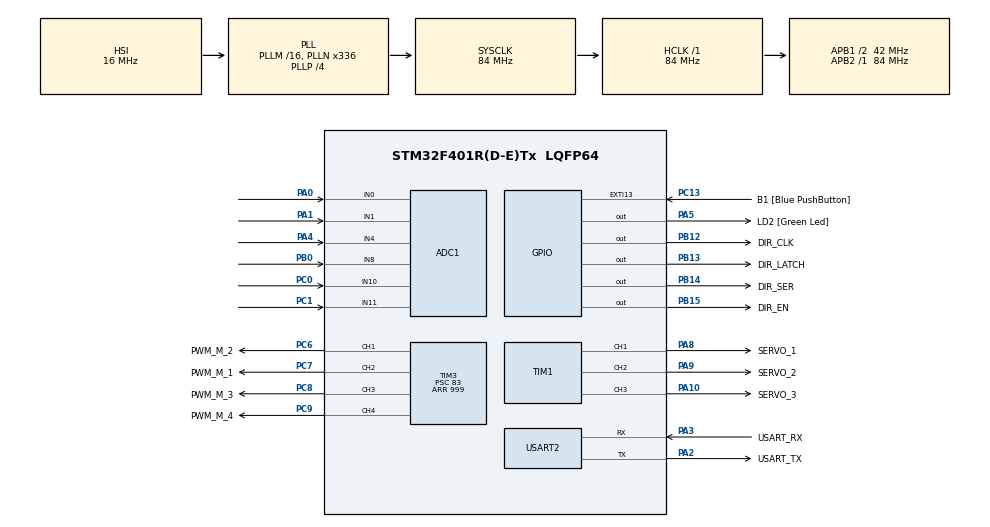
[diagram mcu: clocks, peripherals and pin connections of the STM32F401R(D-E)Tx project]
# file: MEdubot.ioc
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ADC1.Channel-0\#ChannelRegularConversion=ADC_CHANNEL_0
ADC1.Channel-1\#ChannelRegularConversion=ADC_CHANNEL_1
ADC1.Channel-2\#ChannelRegularConversion=ADC_CHANNEL_4
ADC1.Channel-3\#ChannelRegularConversion=ADC_CHANNEL_8
ADC1.Channel-4\#ChannelRegularConversion=ADC_CHANNEL_10
ADC1.Channel-5\#ChannelRegularConversion=ADC_CHANNEL_11
ADC1.ContinuousConvMode=DISABLE
ADC1.NbrOfConversion=6
ADC1.NbrOfConversionFlag=1
ADC1.Rank-0\#ChannelRegularConversion=1
ADC1.Rank-1\#ChannelRegularConversion=2
ADC1.Rank-2\#ChannelRegularConversion=3
ADC1.Rank-3\#ChannelRegularConversion=4
ADC1.Rank-4\#ChannelRegularConversion=5
ADC1.Rank-5\#ChannelRegularConversion=6
ADC1.SamplingTime-0\#ChannelRegularConversion=ADC_SAMPLETIME_3CYCLES
ADC1.SamplingTime-1\#ChannelRegularConversion=ADC_SAMPLETIME_3CYCLES
ADC1.SamplingTime-2\#ChannelRegularConversion=ADC_SAMPLETIME_3CYCLES
ADC1.SamplingTime-3\#ChannelRegularConversion=ADC_SAMPLETIME_3CYCLES
ADC1.SamplingTime-4\#ChannelRegularConversion=ADC_SAMPLETIME_3CYCLES
ADC1.SamplingTime-5\#ChannelRegularConversion=ADC_SAMPLETIME_3CYCLES
ADC1.master=1
Dma.ADC1.0.Direction=DMA_PERIPH_TO_MEMORY
Dma.ADC1.0.FIFOMode=DMA_FIFOMODE_DISABLE
Dma.ADC1.0.Instance=DMA2_Stream0
Dma.ADC1.0.MemDataAlignment=DMA_MDATAALIGN_HALFWORD
Dma.ADC1.0.MemInc=DMA_MINC_ENABLE
Dma.ADC1.0.Mode=DMA_NORMAL
Dma.ADC1.0.PeriphDataAlignment=DMA_PDATAALIGN_HALFWORD
Dma.ADC1.0.PeriphInc=DMA_PINC_DISABLE
Dma.ADC1.0.Priority=DMA_PRIORITY_LOW
Dma.Request0=ADC1
Mcu.Family=STM32F4
Mcu.Name=STM32F401R(D-E)Tx
Mcu.Package=LQFP64
NVIC.DMA2_Stream0_IRQn=true\:0\:0\:false\:false\:true\:false\:true\:true
NVIC.PriorityGroup=NVIC_PRIORITYGROUP_0
PA0-WKUP.Signal=ADCx_IN0
PA1.Signal=ADCx_IN1
PA10.GPIO_Label=SERVO_3
PA10.Signal=S_TIM1_CH3
PA13.GPIO_Label=TMS
PA13.Mode=Serial_Wire
PA13.Signal=SYS_JTMS-SWDIO
PA14.GPIO_Label=TCK
PA14.Mode=Serial_Wire
PA14.Signal=SYS_JTCK-SWCLK
PA2.GPIO_Label=USART_TX
PA2.GPIO_Mode=GPIO_MODE_AF_PP
PA2.GPIO_PuPd=GPIO_NOPULL
PA2.GPIO_Speed=GPIO_SPEED_FREQ_LOW
PA2.Mode=Asynchronous
PA2.Signal=USART2_TX
PA3.GPIO_Label=USART_RX
PA3.GPIO_Mode=GPIO_MODE_AF_PP
PA3.GPIO_PuPd=GPIO_NOPULL
PA3.GPIO_Speed=GPIO_SPEED_FREQ_LOW
PA3.Mode=Asynchronous
PA3.Signal=USART2_RX
PA4.Signal=ADCx_IN4
PA5.GPIO_Label=LD2 [Green Led]
PA5.GPIO_Mode=GPIO_MODE_OUTPUT_PP
PA5.GPIO_PuPd=GPIO_NOPULL
PA5.GPIO_Speed=GPIO_SPEED_FREQ_LOW
PA5.Signal=GPIO_Output
PA8.GPIO_Label=SERVO_1
PA8.Signal=S_TIM1_CH1
PA9.GPIO_Label=SERVO_2
PA9.Signal=S_TIM1_CH2
PB0.Signal=ADCx_IN8
PB12.GPIO_Label=DIR_CLK
PB12.Signal=GPIO_Output
PB13.GPIO_Label=DIR_LATCH
PB13.Signal=GPIO_Output
PB14.GPIO_Label=DIR_SER
PB14.Signal=GPIO_Output
PB15.GPIO_Label=DIR_EN
PB15.Signal=GPIO_Output
PC0.Signal=ADCx_IN10
PC1.Signal=ADCx_IN11
PC13-ANTI_TAMP.GPIO_Label=B1 [Blue PushButton]
PC13-ANTI_TAMP.GPIO_ModeDefaultEXTI=GPIO_MODE_IT_FALLING
PC13-ANTI_TAMP.GPIO_PuPd=GPIO_NOPULL
PC13-ANTI_TAMP.Signal=GPXTI13
PC14-OSC32_IN.Mode=LSE-External-Oscillator
PC14-OSC32_IN.Signal=RCC_OSC32_IN
PC15-OSC32_OUT.Mode=LSE-External-Oscillator
PC15-OSC32_OUT.Signal=RCC_OSC32_OUT
PC6.GPIO_Label=PWM_M_2
PC6.Signal=S_TIM3_CH1
PC7.GPIO_Label=PWM_M_1
PC7.Signal=S_TIM3_CH2
PC8.GPIO_Label=PWM_M_3
PC8.Signal=S_TIM3_CH3
PC9.GPIO_Label=PWM_M_4
PC9.Signal=S_TIM3_CH4
PH0\ -\ OSC_IN.Mode=HSE-External-Clock-Source
PH0\ -\ OSC_IN.Signal=RCC_OSC_IN
PH1\ -\ OSC_OUT.Mode=HSE-External-Clock-Source
PH1\ -\ OSC_OUT.Signal=RCC_OSC_OUT
ProjectManager.HeapSize=0x200
ProjectManager.StackSize=0x400
ProjectManager.TargetToolchain=STM32CubeIDE
RCC.48MHZClocksFreq_Value=48000000
RCC.AHBFreq_Value=84000000
RCC.APB1CLKDivider=RCC_HCLK_DIV2
RCC.APB1Freq_Value=42000000
RCC.APB1TimFreq_Value=84000000
RCC.APB2Freq_Value=84000000
RCC.APB2TimFreq_Value=84000000
RCC.CortexFreq_Value=84000000
RCC.HCLKFreq_Value=84000000
RCC.HSE_VALUE=8000000
RCC.HSI_VALUE=16000000
RCC.PLLN=336
RCC.PLLP=RCC_PLLP_DIV4
RCC.PLLQ=7
RCC.SYSCLKFreq_VALUE=84000000
RCC.SYSCLKSource=RCC_SYSCLKSOURCE_PLLCLK
RCC.VCOOutputFreq_Value=336000000
SH.ADCx_IN0.0=ADC1_IN0,IN0
SH.ADCx_IN1.0=ADC1_IN1,IN1
SH.ADCx_IN10.0=ADC1_IN10,IN10
SH.ADCx_IN11.0=ADC1_IN11,IN11
SH.ADCx_IN4.0=ADC1_IN4,IN4
SH.ADCx_IN8.0=ADC1_IN8,IN8
SH.S_TIM1_CH1.0=TIM1_CH1,PWM Generation1 CH1
SH.S_TIM1_CH2.0=TIM1_CH2,PWM Generation2 CH2
SH.S_TIM1_CH3.0=TIM1_CH3,PWM Generation3 CH3
SH.S_TIM3_CH1.0=TIM3_CH1,PWM Generation1 CH1
SH.S_TIM3_CH2.0=TIM3_CH2,PWM Generation2 CH2
SH.S_TIM3_CH3.0=TIM3_CH3,PWM Generation3 CH3
SH.S_TIM3_CH4.0=TIM3_CH4,PWM Generation4 CH4
TIM1.Channel-PWM\ Generation1\ CH1=TIM_CHANNEL_1
TIM1.Channel-PWM\ Generation2\ CH2=TIM_CHANNEL_2
TIM1.Channel-PWM\ Generation3\ CH3=TIM_CHANNEL_3
TIM3.Channel-PWM\ Generation1\ CH1=TIM_CHANNEL_1
TIM3.Channel-PWM\ Generation2\ CH2=TIM_CHANNEL_2
TIM3.Channel-PWM\ Generation3\ CH3=TIM_CHANNEL_3
TIM3.Channel-PWM\ Generation4\ CH4=TIM_CHANNEL_4
TIM3.Period=999
TIM3.Prescaler=83
USART2.VirtualMode=VM_ASYNC
VP_TIM1_VS_ClockSourceINT.Mode=Internal
VP_TIM2_VS_ClockSourceINT.Mode=Internal
VP_TIM3_VS_ClockSourceINT.Mode=Internal
VP_TIM4_VS_ClockSourceINT.Mode=Internal
board=NUCLEO-F401RE

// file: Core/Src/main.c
/* USER CODE BEGIN Header */
/**
 ******************************************************************************
 * @file           : main.c
 * @brief          : Main program body
 ******************************************************************************
 * @attention
 *
 * Copyright (c) 2024 STMicroelectronics.
 * All rights reserved.
 *
 * This software is licensed under terms that can be found in the LICENSE file
 * in the root directory of this software component.
 * If no LICENSE file comes with this software, it is provided AS-IS.
 *
 ******************************************************************************
 */
/* USER CODE END Header */
#include "main.h"

/* USER CODE BEGIN PD */
#define MAX_SPEED 1000.0
#define MOTOR_DIR_FORWARD 0
#define MOTOR_DIR_STOP 1
#define MOTOR_DIR_BACK 2
/* USER CODE END PD */

ADC_HandleTypeDef hadc1;
DMA_HandleTypeDef hdma_adc1;

TIM_HandleTypeDef htim1;
TIM_HandleTypeDef htim2;
TIM_HandleTypeDef htim3;
TIM_HandleTypeDef htim4;

UART_HandleTypeDef huart2;

/* USER CODE BEGIN PV */
uint16_t adc[6]={0};
/* USER CODE END PV */

void SystemClock_Config(void);
static void MX_GPIO_Init(void);
static void MX_DMA_Init(void);
static void MX_USART2_UART_Init(void);
static void MX_TIM2_Init(void);
static void MX_TIM3_Init(void);
static void MX_TIM4_Init(void);
static void MX_TIM1_Init(void);
static void MX_ADC1_Init(void);

/* USER CODE BEGIN 0 */
void setDirection(uint8_t left, uint8_t right) {
	uint8_t dirMessage = 0b00000000;
	uint8_t i = 0;
	if (left ==MOTOR_DIR_FORWARD) {
		dirMessage |= 0b00010000; //hátra 0b00100000
	}
	if (left == MOTOR_DIR_BACK) {
		dirMessage |= 0b00100000;
	}
	if (left == MOTOR_DIR_STOP) {
		dirMessage |= 0b00000000;
	}
	if (right ==MOTOR_DIR_FORWARD) {
		dirMessage |= 0b10000000; //hátra: 0b00000010
	}
	if (right == MOTOR_DIR_BACK) {
		dirMessage |= 0b00000010;
	}
	if (right == MOTOR_DIR_STOP) {
		dirMessage |= 0b00000000;
	}

	HAL_GPIO_WritePin(DIR_EN_GPIO_Port, DIR_EN_Pin, 0);
	HAL_GPIO_WritePin(DIR_LATCH_GPIO_Port, DIR_LATCH_Pin, 0);
	for (i = 0; i < 8; ++i) {

		if ((dirMessage) & (1 << (i))) {
			HAL_GPIO_WritePin(DIR_SER_GPIO_Port, DIR_SER_Pin, 1);
		} else {
			HAL_GPIO_WritePin(DIR_SER_GPIO_Port, DIR_SER_Pin, 0);
		}
		HAL_Delay(1);
		HAL_GPIO_WritePin(DIR_CLK_GPIO_Port, DIR_CLK_Pin, 1);
		HAL_Delay(1);
		HAL_GPIO_WritePin(DIR_CLK_GPIO_Port, DIR_CLK_Pin, 0);

	}
	HAL_Delay(1);
	HAL_GPIO_WritePin(DIR_LATCH_GPIO_Port, DIR_LATCH_Pin, 1);
	HAL_Delay(1);
	HAL_GPIO_WritePin(DIR_LATCH_GPIO_Port, DIR_LATCH_Pin, 0);

}

uint8_t getDirectionFromSpeed(int32_t speed) {
	uint8_t retValue = MOTOR_DIR_STOP;
	if (speed > 0) {
		retValue = MOTOR_DIR_FORWARD;
	} else if (speed < 0) {
		retValue = MOTOR_DIR_BACK;
	}
	return retValue;
}

uint16_t getPWMFromSpeed(int32_t speed) {
	if (speed < 0) {
		speed = speed * -1;
	}
	if (speed > MAX_SPEED) {
		speed = MAX_SPEED;
	}
	return (speed / MAX_SPEED) * htim3.Instance->ARR;
}
void setSpeed(int16_t left, int16_t right) {
	uint8_t dirLeft = getDirectionFromSpeed(left);
	uint8_t dirRight = getDirectionFromSpeed(right);
	setDirection(dirLeft, dirRight);
	htim3.Instance->CCR2 = getPWMFromSpeed(left);
	htim3.Instance->CCR4 = getPWMFromSpeed(right);
}

/* USER CODE END 0 */

int main(void)
{

  /* MCU Configuration--------------------------------------------------------*/

  /* Reset of all peripherals, Initializes the Flash interface and the Systick. */
  HAL_Init();

  /* Configure the system clock */
  SystemClock_Config();

  /* Initialize all configured peripherals */
  MX_GPIO_Init();
  MX_DMA_Init();
  MX_USART2_UART_Init();
  MX_TIM2_Init();
  MX_TIM3_Init();
  MX_TIM4_Init();
  MX_TIM1_Init();
  MX_ADC1_Init();
  /* USER CODE BEGIN 2 */
	HAL_TIM_PWM_Start(&htim3, TIM_CHANNEL_2);
	HAL_TIM_PWM_Start(&htim3, TIM_CHANNEL_4);
	setSpeed(0, 0);
  /* USER CODE END 2 */

  /* Infinite loop */
  /* USER CODE BEGIN WHILE */
	while (1) {
		HAL_Delay(300);
		setSpeed(250, 750);
		HAL_ADC_Start_DMA(&hadc1, adc, 6);
		HAL_GPIO_TogglePin(LD2_GPIO_Port, LD2_Pin);

    /* USER CODE END WHILE */

	}
}

void SystemClock_Config(void)
{
  RCC_OscInitTypeDef RCC_OscInitStruct = {0};
  RCC_ClkInitTypeDef RCC_ClkInitStruct = {0};

  /** Configure the main internal regulator output voltage
  */
  __HAL_RCC_PWR_CLK_ENABLE();
  __HAL_PWR_VOLTAGESCALING_CONFIG(PWR_REGULATOR_VOLTAGE_SCALE2);

  /** Initializes the RCC Oscillators according to the specified parameters
  * in the RCC_OscInitTypeDef structure.
  */
  RCC_OscInitStruct.OscillatorType = RCC_OSCILLATORTYPE_HSI;
  RCC_OscInitStruct.HSIState = RCC_HSI_ON;
  RCC_OscInitStruct.HSICalibrationValue = RCC_HSICALIBRATION_DEFAULT;
  RCC_OscInitStruct.PLL.PLLState = RCC_PLL_ON;
  RCC_OscInitStruct.PLL.PLLSource = RCC_PLLSOURCE_HSI;
  RCC_OscInitStruct.PLL.PLLM = 16;
  RCC_OscInitStruct.PLL.PLLN = 336;
  RCC_OscInitStruct.PLL.PLLP = RCC_PLLP_DIV4;
  RCC_OscInitStruct.PLL.PLLQ = 7;
  if (HAL_RCC_OscConfig(&RCC_OscInitStruct) != HAL_OK)
  {
    Error_Handler();
  }

  /** Initializes the CPU, AHB and APB buses clocks
  */
  RCC_ClkInitStruct.ClockType = RCC_CLOCKTYPE_HCLK|RCC_CLOCKTYPE_SYSCLK
                              |RCC_CLOCKTYPE_PCLK1|RCC_CLOCKTYPE_PCLK2;
  RCC_ClkInitStruct.SYSCLKSource = RCC_SYSCLKSOURCE_PLLCLK;
  RCC_ClkInitStruct.AHBCLKDivider = RCC_SYSCLK_DIV1;
  RCC_ClkInitStruct.APB1CLKDivider = RCC_HCLK_DIV2;
  RCC_ClkInitStruct.APB2CLKDivider = RCC_HCLK_DIV1;

  if (HAL_RCC_ClockConfig(&RCC_ClkInitStruct, FLASH_LATENCY_2) != HAL_OK)
  {
    Error_Handler();
  }
}

static void MX_ADC1_Init(void)
{

  ADC_ChannelConfTypeDef sConfig = {0};

  /** Configure the global features of the ADC (Clock, Resolution, Data Alignment and number of conversion)
  */
  hadc1.Instance = ADC1;
  hadc1.Init.ClockPrescaler = ADC_CLOCK_SYNC_PCLK_DIV4;
  hadc1.Init.Resolution = ADC_RESOLUTION_12B;
  hadc1.Init.ScanConvMode = ENABLE;
  hadc1.Init.ContinuousConvMode = DISABLE;
  hadc1.Init.DiscontinuousConvMode = DISABLE;
  hadc1.Init.ExternalTrigConvEdge = ADC_EXTERNALTRIGCONVEDGE_NONE;
  hadc1.Init.ExternalTrigConv = ADC_SOFTWARE_START;
  hadc1.Init.DataAlign = ADC_DATAALIGN_RIGHT;
  hadc1.Init.NbrOfConversion = 6;
  hadc1.Init.DMAContinuousRequests = DISABLE;
  hadc1.Init.EOCSelection = ADC_EOC_SINGLE_CONV;
  if (HAL_ADC_Init(&hadc1) != HAL_OK)
  {
    Error_Handler();
  }

  /** Configure for the selected ADC regular channel its corresponding rank in the sequencer and its sample time.
  */
  sConfig.Channel = ADC_CHANNEL_0;
  sConfig.Rank = 1;
  sConfig.SamplingTime = ADC_SAMPLETIME_3CYCLES;
  if (HAL_ADC_ConfigChannel(&hadc1, &sConfig) != HAL_OK)
  {
    Error_Handler();
  }

  /** Configure for the selected ADC regular channel its corresponding rank in the sequencer and its sample time.
  */
  sConfig.Channel = ADC_CHANNEL_1;
  sConfig.Rank = 2;
  if (HAL_ADC_ConfigChannel(&hadc1, &sConfig) != HAL_OK)
  {
    Error_Handler();
  }

  /** Configure for the selected ADC regular channel its corresponding rank in the sequencer and its sample time.
  */
  sConfig.Channel = ADC_CHANNEL_4;
  sConfig.Rank = 3;
  if (HAL_ADC_ConfigChannel(&hadc1, &sConfig) != HAL_OK)
  {
    Error_Handler();
  }

  /** Configure for the selected ADC regular channel its corresponding rank in the sequencer and its sample time.
  */
  sConfig.Channel = ADC_CHANNEL_8;
  sConfig.Rank = 4;
  if (HAL_ADC_ConfigChannel(&hadc1, &sConfig) != HAL_OK)
  {
    Error_Handler();
  }

  /** Configure for the selected ADC regular channel its corresponding rank in the sequencer and its sample time.
  */
  sConfig.Channel = ADC_CHANNEL_10;
  sConfig.Rank = 5;
  if (HAL_ADC_ConfigChannel(&hadc1, &sConfig) != HAL_OK)
  {
    Error_Handler();
  }

  /** Configure for the selected ADC regular channel its corresponding rank in the sequencer and its sample time.
  */
  sConfig.Channel = ADC_CHANNEL_11;
  sConfig.Rank = 6;
  if (HAL_ADC_ConfigChannel(&hadc1, &sConfig) != HAL_OK)
  {
    Error_Handler();
  }

}

static void MX_TIM1_Init(void)
{

  TIM_ClockConfigTypeDef sClockSourceConfig = {0};
  TIM_MasterConfigTypeDef sMasterConfig = {0};
  TIM_OC_InitTypeDef sConfigOC = {0};
  TIM_BreakDeadTimeConfigTypeDef sBreakDeadTimeConfig = {0};

  htim1.Instance = TIM1;
  htim1.Init.Prescaler = 0;
  htim1.Init.CounterMode = TIM_COUNTERMODE_UP;
  htim1.Init.Period = 65535;
  htim1.Init.ClockDivision = TIM_CLOCKDIVISION_DIV1;
  htim1.Init.RepetitionCounter = 0;
  htim1.Init.AutoReloadPreload = TIM_AUTORELOAD_PRELOAD_DISABLE;
  if (HAL_TIM_Base_Init(&htim1) != HAL_OK)
  {
    Error_Handler();
  }
  sClockSourceConfig.ClockSource = TIM_CLOCKSOURCE_INTERNAL;
  if (HAL_TIM_ConfigClockSource(&htim1, &sClockSourceConfig) != HAL_OK)
  {
    Error_Handler();
  }
  if (HAL_TIM_PWM_Init(&htim1) != HAL_OK)
  {
    Error_Handler();
  }
  sMasterConfig.MasterOutputTrigger = TIM_TRGO_RESET;
  sMasterConfig.MasterSlaveMode = TIM_MASTERSLAVEMODE_DISABLE;
  if (HAL_TIMEx_MasterConfigSynchronization(&htim1, &sMasterConfig) != HAL_OK)
  {
    Error_Handler();
  }
  sConfigOC.OCMode = TIM_OCMODE_PWM1;
  sConfigOC.Pulse = 0;
  sConfigOC.OCPolarity = TIM_OCPOLARITY_HIGH;
  sConfigOC.OCNPolarity = TIM_OCNPOLARITY_HIGH;
  sConfigOC.OCFastMode = TIM_OCFAST_DISABLE;
  sConfigOC.OCIdleState = TIM_OCIDLESTATE_RESET;
  sConfigOC.OCNIdleState = TIM_OCNIDLESTATE_RESET;
  if (HAL_TIM_PWM_ConfigChannel(&htim1, &sConfigOC, TIM_CHANNEL_1) != HAL_OK)
  {
    Error_Handler();
  }
  if (HAL_TIM_PWM_ConfigChannel(&htim1, &sConfigOC, TIM_CHANNEL_2) != HAL_OK)
  {
    Error_Handler();
  }
  if (HAL_TIM_PWM_ConfigChannel(&htim1, &sConfigOC, TIM_CHANNEL_3) != HAL_OK)
  {
    Error_Handler();
  }
  sBreakDeadTimeConfig.OffStateRunMode = TIM_OSSR_DISABLE;
  sBreakDeadTimeConfig.OffStateIDLEMode = TIM_OSSI_DISABLE;
  sBreakDeadTimeConfig.LockLevel = TIM_LOCKLEVEL_OFF;
  sBreakDeadTimeConfig.DeadTime = 0;
  sBreakDeadTimeConfig.BreakState = TIM_BREAK_DISABLE;
  sBreakDeadTimeConfig.BreakPolarity = TIM_BREAKPOLARITY_HIGH;
  sBreakDeadTimeConfig.AutomaticOutput = TIM_AUTOMATICOUTPUT_DISABLE;
  if (HAL_TIMEx_ConfigBreakDeadTime(&htim1, &sBreakDeadTimeConfig) != HAL_OK)
  {
    Error_Handler();
  }
  HAL_TIM_MspPostInit(&htim1);

}

static void MX_TIM2_Init(void)
{

  TIM_ClockConfigTypeDef sClockSourceConfig = {0};
  TIM_MasterConfigTypeDef sMasterConfig = {0};

  htim2.Instance = TIM2;
  htim2.Init.Prescaler = 0;
  htim2.Init.CounterMode = TIM_COUNTERMODE_UP;
  htim2.Init.Period = 4294967295;
  htim2.Init.ClockDivision = TIM_CLOCKDIVISION_DIV1;
  htim2.Init.AutoReloadPreload = TIM_AUTORELOAD_PRELOAD_DISABLE;
  if (HAL_TIM_Base_Init(&htim2) != HAL_OK)
  {
    Error_Handler();
  }
  sClockSourceConfig.ClockSource = TIM_CLOCKSOURCE_INTERNAL;
  if (HAL_TIM_ConfigClockSource(&htim2, &sClockSourceConfig) != HAL_OK)
  {
    Error_Handler();
  }
  sMasterConfig.MasterOutputTrigger = TIM_TRGO_RESET;
  sMasterConfig.MasterSlaveMode = TIM_MASTERSLAVEMODE_DISABLE;
  if (HAL_TIMEx_MasterConfigSynchronization(&htim2, &sMasterConfig) != HAL_OK)
  {
    Error_Handler();
  }

}

static void MX_TIM3_Init(void)
{

  TIM_ClockConfigTypeDef sClockSourceConfig = {0};
  TIM_MasterConfigTypeDef sMasterConfig = {0};
  TIM_OC_InitTypeDef sConfigOC = {0};

  htim3.Instance = TIM3;
  htim3.Init.Prescaler = 83;
  htim3.Init.CounterMode = TIM_COUNTERMODE_UP;
  htim3.Init.Period = 999;
  htim3.Init.ClockDivision = TIM_CLOCKDIVISION_DIV1;
  htim3.Init.AutoReloadPreload = TIM_AUTORELOAD_PRELOAD_DISABLE;
  if (HAL_TIM_Base_Init(&htim3) != HAL_OK)
  {
    Error_Handler();
  }
  sClockSourceConfig.ClockSource = TIM_CLOCKSOURCE_INTERNAL;
  if (HAL_TIM_ConfigClockSource(&htim3, &sClockSourceConfig) != HAL_OK)
  {
    Error_Handler();
  }
  if (HAL_TIM_PWM_Init(&htim3) != HAL_OK)
  {
    Error_Handler();
  }
  sMasterConfig.MasterOutputTrigger = TIM_TRGO_RESET;
  sMasterConfig.MasterSlaveMode = TIM_MASTERSLAVEMODE_DISABLE;
  if (HAL_TIMEx_MasterConfigSynchronization(&htim3, &sMasterConfig) != HAL_OK)
  {
    Error_Handler();
  }
  sConfigOC.OCMode = TIM_OCMODE_PWM1;
  sConfigOC.Pulse = 0;
  sConfigOC.OCPolarity = TIM_OCPOLARITY_HIGH;
  sConfigOC.OCFastMode = TIM_OCFAST_DISABLE;
  if (HAL_TIM_PWM_ConfigChannel(&htim3, &sConfigOC, TIM_CHANNEL_1) != HAL_OK)
  {
    Error_Handler();
  }
  if (HAL_TIM_PWM_ConfigChannel(&htim3, &sConfigOC, TIM_CHANNEL_2) != HAL_OK)
  {
    Error_Handler();
  }
  if (HAL_TIM_PWM_ConfigChannel(&htim3, &sConfigOC, TIM_CHANNEL_3) != HAL_OK)
  {
    Error_Handler();
  }
  if (HAL_TIM_PWM_ConfigChannel(&htim3, &sConfigOC, TIM_CHANNEL_4) != HAL_OK)
  {
    Error_Handler();
  }
  HAL_TIM_MspPostInit(&htim3);

}

static void MX_TIM4_Init(void)
{

  TIM_ClockConfigTypeDef sClockSourceConfig = {0};
  TIM_MasterConfigTypeDef sMasterConfig = {0};

  htim4.Instance = TIM4;
  htim4.Init.Prescaler = 0;
  htim4.Init.CounterMode = TIM_COUNTERMODE_UP;
  htim4.Init.Period = 65535;
  htim4.Init.ClockDivision = TIM_CLOCKDIVISION_DIV1;
  htim4.Init.AutoReloadPreload = TIM_AUTORELOAD_PRELOAD_DISABLE;
  if (HAL_TIM_Base_Init(&htim4) != HAL_OK)
  {
    Error_Handler();
  }
  sClockSourceConfig.ClockSource = TIM_CLOCKSOURCE_INTERNAL;
  if (HAL_TIM_ConfigClockSource(&htim4, &sClockSourceConfig) != HAL_OK)
  {
    Error_Handler();
  }
  sMasterConfig.MasterOutputTrigger = TIM_TRGO_RESET;
  sMasterConfig.MasterSlaveMode = TIM_MASTERSLAVEMODE_DISABLE;
  if (HAL_TIMEx_MasterConfigSynchronization(&htim4, &sMasterConfig) != HAL_OK)
  {
    Error_Handler();
  }

}

static void MX_USART2_UART_Init(void)
{

  huart2.Instance = USART2;
  huart2.Init.BaudRate = 115200;
  huart2.Init.WordLength = UART_WORDLENGTH_8B;
  huart2.Init.StopBits = UART_STOPBITS_1;
  huart2.Init.Parity = UART_PARITY_NONE;
  huart2.Init.Mode = UART_MODE_TX_RX;
  huart2.Init.HwFlowCtl = UART_HWCONTROL_NONE;
  huart2.Init.OverSampling = UART_OVERSAMPLING_16;
  if (HAL_UART_Init(&huart2) != HAL_OK)
  {
    Error_Handler();
  }

}

static void MX_DMA_Init(void)
{

  /* DMA controller clock enable */
  __HAL_RCC_DMA2_CLK_ENABLE();

  /* DMA interrupt init */
  /* DMA2_Stream0_IRQn interrupt configuration */
  HAL_NVIC_SetPriority(DMA2_Stream0_IRQn, 0, 0);
  HAL_NVIC_EnableIRQ(DMA2_Stream0_IRQn);

}

static void MX_GPIO_Init(void)
{
  GPIO_InitTypeDef GPIO_InitStruct = {0};

  /* GPIO Ports Clock Enable */
  __HAL_RCC_GPIOC_CLK_ENABLE();
  __HAL_RCC_GPIOH_CLK_ENABLE();
  __HAL_RCC_GPIOA_CLK_ENABLE();
  __HAL_RCC_GPIOB_CLK_ENABLE();

  /*Configure GPIO pin Output Level */
  HAL_GPIO_WritePin(LD2_GPIO_Port, LD2_Pin, GPIO_PIN_RESET);

  /*Configure GPIO pin Output Level */
  HAL_GPIO_WritePin(GPIOB, DIR_CLK_Pin|DIR_LATCH_Pin|DIR_SER_Pin|DIR_EN_Pin, GPIO_PIN_RESET);

  /*Configure GPIO pin : B1_Pin */
  GPIO_InitStruct.Pin = B1_Pin;
  GPIO_InitStruct.Mode = GPIO_MODE_IT_FALLING;
  GPIO_InitStruct.Pull = GPIO_NOPULL;
  HAL_GPIO_Init(B1_GPIO_Port, &GPIO_InitStruct);

  /*Configure GPIO pin : LD2_Pin */
  GPIO_InitStruct.Pin = LD2_Pin;
  GPIO_InitStruct.Mode = GPIO_MODE_OUTPUT_PP;
  GPIO_InitStruct.Pull = GPIO_NOPULL;
  GPIO_InitStruct.Speed = GPIO_SPEED_FREQ_LOW;
  HAL_GPIO_Init(LD2_GPIO_Port, &GPIO_InitStruct);

  /*Configure GPIO pins : DIR_CLK_Pin DIR_LATCH_Pin DIR_SER_Pin DIR_EN_Pin */
  GPIO_InitStruct.Pin = DIR_CLK_Pin|DIR_LATCH_Pin|DIR_SER_Pin|DIR_EN_Pin;
  GPIO_InitStruct.Mode = GPIO_MODE_OUTPUT_PP;
  GPIO_InitStruct.Pull = GPIO_NOPULL;
  GPIO_InitStruct.Speed = GPIO_SPEED_FREQ_LOW;
  HAL_GPIO_Init(GPIOB, &GPIO_InitStruct);

}

void Error_Handler(void)
{
	__disable_irq();
	while (1) {
	}
}
